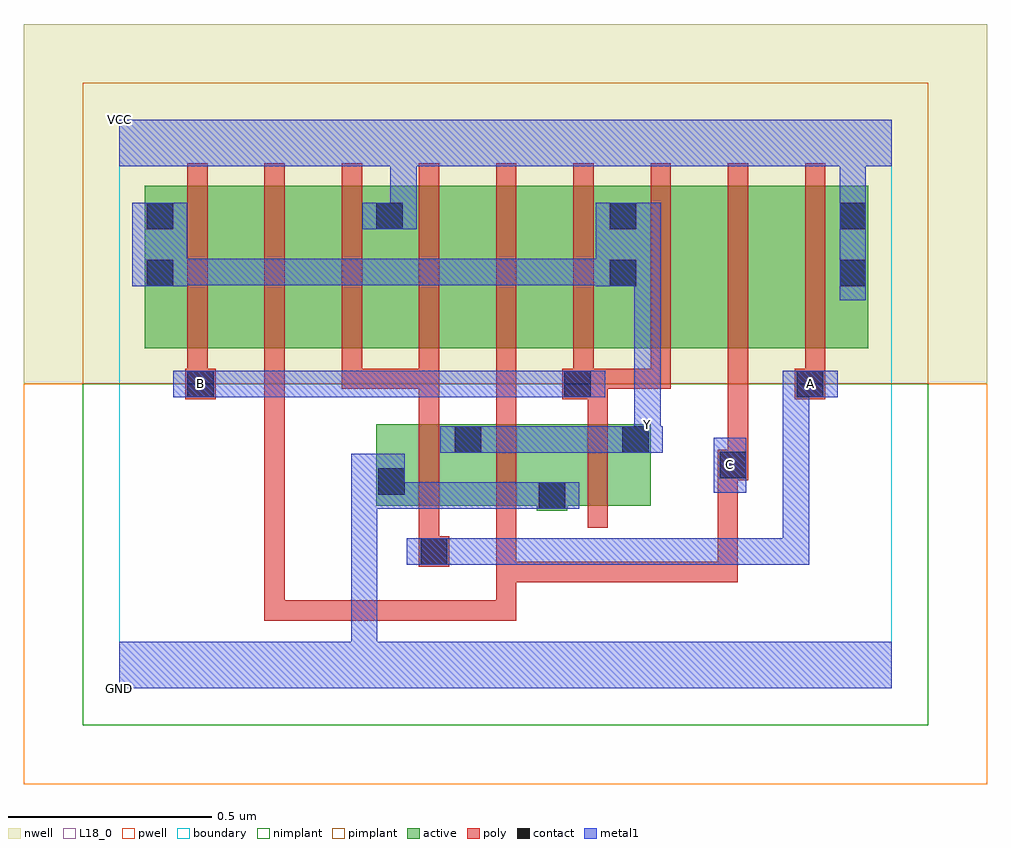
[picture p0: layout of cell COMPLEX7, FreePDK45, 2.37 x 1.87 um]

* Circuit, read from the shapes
.subckt COMPLEX7 A B C GND VCC Y
M1 Y A GND VSUBS nfet w=0.2u l=0.05u
M2 GND C Y VSUBS nfet w=0.2u l=0.05u
M3 Y B GND VSUBS nfet w=0.2u l=0.05u
M4 n1 B Y n2 pfet w=0.4u l=0.05u
M5 n3 C n1 n2 pfet w=0.4u l=0.05u
M6 VCC A n3 n2 pfet w=0.4u l=0.05u
M7 n4 A VCC n2 pfet w=0.4u l=0.05u
M8 n5 C n4 n2 pfet w=0.4u l=0.05u
M9 Y B n5 n2 pfet w=0.4u l=0.05u
M10 n6 B Y n2 pfet w=0.4u l=0.05u
M11 n7 C n6 n2 pfet w=0.4u l=0.05u
M12 VCC A n7 n2 pfet w=0.4u l=0.05u
.ends

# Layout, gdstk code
import gdstk
lib = gdstk.Library(unit=1e-6, precision=1e-09)
def R(c, l, rs):  # rectangles x0, y0, x1, y1
    for r in rs: c.add(gdstk.rectangle(r[:2], r[2:], *l))
def A(c, l, x, y, w, h, nx, ny, dx, dy):  # array of equal rectangles
    R(c, l, [(x+i*dx, y+j*dy, x+i*dx+w, y+j*dy+h) for i in range(nx) for j in range(ny)])
active = (1, 0)
pwell = (2, 0)
nwell = (3, 0)
nimplant = (4, 0)
pimplant = (5, 0)
poly = (9, 0)
contact = (10, 0)
metal1 = (11, 0)
L18_0 = (18, 0)
boundary = (235, 0)

complex7 = lib.new_cell('COMPLEX7')
A(complex7, active, 0.287, 0.837, 0.19, 0.4, 3, 1, 0.57, 0)
R(complex7, active, [(1.027,0.437,1.102,0.597), (0.632,0.45,0.895,0.65), (0.632,0.45,0.707,0.65), (0.82,0.45,1.102,0.65), (1.027,0.45,1.307,0.65), (0.82,0.495,0.895,0.65), (1.232,0.495,1.307,0.65), (0.062,0.837,0.287,1.237), (0.062,0.837,0.167,1.2), (0.477,0.837,0.702,1.237), (0.627,0.837,0.857,1.237), (1.047,0.837,1.277,1.237), (1.202,0.837,1.427,1.237), (1.617,0.837,1.842,1.237), (1.767,0.837,1.842,1.205), (0.627,0.907,0.702,1.205), (1.202,0.907,1.277,1.2)])
R(complex7, pwell, [(-0.235,-0.235,2.135,0.75)])
R(complex7, nwell, [(-0.235,0.75,2.135,1.635)])
R(complex7, nimplant, [(-0.09,-0.09,1.99,0.75)])
R(complex7, pimplant, [(-0.09,0.75,1.99,1.49)])
A(complex7, poly, 0.547, 0.737, 0.05, 0.095, 5, 1, 0.19, 0)
A(complex7, poly, 0.167, 0.782, 0.05, 0.51, 9, 1, 0.19, 0)
R(complex7, poly, [(0.357,0.167,0.407,0.217), (0.357,0.167,0.407,0.217), (0.357,0.167,0.407,0.217), (0.357,0.167,0.407,0.217), (0.357,0.167,0.407,0.217), (0.357,0.167,0.407,0.217), (0.357,0.167,0.407,0.217), (0.357,0.167,0.582,0.217), (0.357,0.167,0.407,0.832), (0.532,0.167,0.582,0.217), (0.532,0.167,0.582,0.217), (0.532,0.167,0.582,0.217), (0.532,0.167,0.582,0.217), (0.532,0.167,0.582,0.217), (0.532,0.167,0.582,0.217), (0.532,0.167,0.582,0.217), (0.532,0.167,0.845,0.217), (0.795,0.167,0.845,0.217), (0.795,0.167,0.977,0.217), (0.927,0.167,0.977,0.217), (0.927,0.167,0.977,0.312), (0.927,0.262,0.977,0.312), (0.927,0.262,0.977,0.312), (0.927,0.262,0.977,0.312), (0.927,0.262,1.11,0.312), (0.927,0.262,0.977,0.445), (1.06,0.262,1.11,0.312), (1.06,0.262,1.11,0.312), (1.06,0.262,1.11,0.312), (1.06,0.262,1.39,0.312), (1.34,0.262,1.39,0.312), (1.34,0.262,1.39,0.312), (1.34,0.262,1.39,0.312), (1.34,0.262,1.522,0.312), (1.472,0.262,1.522,0.562), (1.472,0.262,1.522,0.312), (1.472,0.262,1.522,0.312), (1.472,0.262,1.522,0.312), (1.472,0.262,1.522,0.312), (1.472,0.262,1.522,0.312), (1.472,0.262,1.522,0.312), (1.472,0.262,1.522,0.312), (0.737,0.3,0.812,0.375), (0.737,0.325,0.787,0.445), (0.737,0.395,0.787,0.705), (0.927,0.395,0.977,0.705), (1.152,0.395,1.202,0.705), (1.472,0.512,1.547,0.587), (1.497,0.537,1.547,0.832), (0.737,0.655,0.787,0.787), (0.927,0.655,0.977,0.787), (1.152,0.655,1.202,0.762), (0.162,0.712,0.237,0.787), (1.09,0.712,1.202,0.787), (1.662,0.712,1.737,0.787), (0.167,0.737,0.217,0.832), (0.547,0.737,0.597,0.787), (0.547,0.737,0.787,0.787), (0.737,0.737,0.787,0.787), (0.737,0.737,0.787,0.787), (0.737,0.737,0.787,0.787), (0.927,0.737,0.977,0.787), (1.152,0.737,1.357,0.787), (1.307,0.737,1.357,0.787), (1.307,0.737,1.357,0.787), (1.307,0.737,1.357,0.787), (1.687,0.737,1.737,0.832)])
R(complex7, contact, [(0.742,0.305,0.807,0.37), (1.032,0.442,1.097,0.507), (0.637,0.477,0.702,0.542), (1.477,0.517,1.542,0.582), (0.825,0.58,0.89,0.645), (1.237,0.58,1.302,0.645), (0.167,0.717,0.232,0.782), (1.095,0.717,1.16,0.782), (1.667,0.717,1.732,0.782), (0.067,0.99,0.132,1.055), (1.207,0.99,1.272,1.055), (1.772,0.99,1.837,1.055), (0.067,1.13,0.132,1.195), (0.632,1.13,0.697,1.195), (1.207,1.13,1.272,1.195), (1.772,1.13,1.837,1.195)])
A(complex7, metal1, 0.922, 0.442, 0.14, 0.065, 1, 3, 0, 0.275)
R(complex7, metal1, [(0,0,1.9,0.115), (0.57,0.05,0.635,0.507), (0.707,0.305,0.842,0.37), (0.777,0.305,0.842,0.37), (0.777,0.305,0.842,0.37), (0.777,0.305,0.987,0.37), (0.922,0.305,0.987,0.37), (0.922,0.305,1.062,0.37), (0.997,0.305,1.062,0.37), (0.997,0.305,1.252,0.37), (1.187,0.305,1.252,0.37), (1.187,0.305,1.39,0.37), (1.325,0.305,1.39,0.37), (1.325,0.305,1.39,0.37), (1.325,0.305,1.39,0.37), (1.325,0.305,1.39,0.37), (1.325,0.305,1.39,0.37), (1.325,0.305,1.56,0.37), (1.495,0.305,1.56,0.37), (1.495,0.305,1.56,0.37), (1.495,0.305,1.56,0.37), (1.495,0.305,1.56,0.37), (1.495,0.305,1.56,0.37), (1.495,0.305,1.697,0.37), (1.632,0.305,1.697,0.37), (1.632,0.305,1.697,0.782), (0.57,0.442,0.635,0.507), (0.57,0.442,0.635,0.507), (0.57,0.442,0.635,0.507), (0.57,0.442,0.635,0.507), (0.57,0.442,0.635,0.507), (0.57,0.442,0.635,0.507), (0.57,0.442,0.702,0.577), (0.637,0.442,0.85,0.507), (0.785,0.442,0.85,0.507), (0.785,0.442,0.85,0.507), (0.785,0.442,0.85,0.507), (0.785,0.442,0.987,0.507), (0.922,0.442,0.987,0.507), (0.997,0.442,1.132,0.507), (1.462,0.482,1.542,0.617), (0.79,0.58,0.925,0.645), (0.86,0.58,0.987,0.645), (0.922,0.58,0.987,0.645), (0.922,0.58,1.1,0.645), (1.035,0.58,1.1,0.645), (1.035,0.58,1.125,0.645), (1.06,0.58,1.125,0.645), (1.06,0.58,1.267,0.645), (1.202,0.58,1.337,0.645), (1.267,0.58,1.332,0.647), (1.267,0.582,1.332,0.717), (1.267,0.652,1.332,1.055), (0.132,0.717,0.267,0.782), (0.202,0.717,0.305,0.782), (0.24,0.717,0.305,0.782), (0.24,0.717,0.497,0.782), (0.432,0.717,0.497,0.782), (0.432,0.717,0.497,0.782), (0.432,0.717,0.497,0.782), (0.432,0.717,0.635,0.782), (0.57,0.717,0.635,0.782), (0.57,0.717,0.635,0.782), (0.57,0.717,0.635,0.782), (0.57,0.717,0.85,0.782), (0.785,0.717,0.85,0.782), (0.785,0.717,0.85,0.782), (0.785,0.717,0.85,0.782), (0.785,0.717,0.987,0.782), (0.922,0.717,0.987,0.782), (0.997,0.717,1.062,0.782), (0.997,0.717,1.125,0.782), (1.06,0.717,1.195,0.782), (1.632,0.717,1.697,0.782), (1.632,0.717,1.697,0.782), (1.632,0.717,1.767,0.782), (1.772,0.955,1.837,1.23), (0.032,0.99,0.167,1.195), (1.172,0.99,1.332,1.195), (0.102,0.992,0.167,1.057), (0.102,0.992,0.167,1.057), (0.102,0.992,0.305,1.057), (0.24,0.992,0.305,1.057), (0.24,0.992,0.442,1.057), (0.377,0.992,0.442,1.057), (0.377,0.992,0.442,1.057), (0.377,0.992,0.442,1.057), (0.377,0.992,0.635,1.057), (0.57,0.992,0.635,1.057), (0.57,0.992,0.635,1.057), (0.57,0.992,0.635,1.057), (0.57,0.992,0.772,1.057), (0.707,0.992,0.772,1.057), (0.707,0.992,0.84,1.057), (0.775,0.992,0.84,1.057), (0.775,0.992,0.987,1.057), (0.922,0.992,0.987,1.057), (0.997,0.992,1.062,1.057), (0.997,0.992,1.237,1.057), (1.172,0.992,1.237,1.057), (1.172,0.992,1.237,1.057), (0.597,1.13,0.732,1.195), (0.667,1.13,0.732,1.35), (1.772,1.165,1.837,1.35), (0,1.285,1.9,1.4)])
A(complex7, L18_0, 0.922, 0.442, 0.14, 0.065, 1, 3, 0, 0.275)
R(complex7, L18_0, [(0,0,1.9,0.115), (0.57,0.05,0.635,0.507), (0.707,0.305,0.842,0.37), (0.777,0.305,0.842,0.37), (0.777,0.305,0.842,0.37), (0.777,0.305,0.987,0.37), (0.922,0.305,0.987,0.37), (0.922,0.305,1.062,0.37), (0.997,0.305,1.062,0.37), (0.997,0.305,1.252,0.37), (1.187,0.305,1.252,0.37), (1.187,0.305,1.39,0.37), (1.325,0.305,1.39,0.37), (1.325,0.305,1.39,0.37), (1.325,0.305,1.39,0.37), (1.325,0.305,1.39,0.37), (1.325,0.305,1.39,0.37), (1.325,0.305,1.56,0.37), (1.495,0.305,1.56,0.37), (1.495,0.305,1.56,0.37), (1.495,0.305,1.56,0.37), (1.495,0.305,1.56,0.37), (1.495,0.305,1.56,0.37), (1.495,0.305,1.697,0.37), (1.632,0.305,1.697,0.37), (1.632,0.305,1.697,0.782), (0.57,0.442,0.635,0.507), (0.57,0.442,0.635,0.507), (0.57,0.442,0.635,0.507), (0.57,0.442,0.635,0.507), (0.57,0.442,0.635,0.507), (0.57,0.442,0.635,0.507), (0.57,0.442,0.702,0.577), (0.637,0.442,0.85,0.507), (0.785,0.442,0.85,0.507), (0.785,0.442,0.85,0.507), (0.785,0.442,0.85,0.507), (0.785,0.442,0.987,0.507), (0.922,0.442,0.987,0.507), (0.997,0.442,1.132,0.507), (1.462,0.482,1.542,0.617), (1.467,0.517,1.532,0.582), (0.79,0.58,0.925,0.645), (0.86,0.58,0.987,0.645), (0.922,0.58,0.987,0.645), (0.922,0.58,1.1,0.645), (1.035,0.58,1.1,0.645), (1.035,0.58,1.125,0.645), (1.06,0.58,1.125,0.645), (1.06,0.58,1.267,0.645), (1.202,0.58,1.337,0.645), (1.267,0.58,1.332,0.647), (1.267,0.582,1.332,0.717), (1.267,0.617,1.332,0.682), (1.267,0.652,1.332,1.055), (0.132,0.717,0.267,0.782), (0.167,0.717,0.232,0.782), (0.202,0.717,0.305,0.782), (0.24,0.717,0.305,0.782), (0.24,0.717,0.497,0.782), (0.432,0.717,0.497,0.782), (0.432,0.717,0.497,0.782), (0.432,0.717,0.497,0.782), (0.432,0.717,0.635,0.782), (0.57,0.717,0.635,0.782), (0.57,0.717,0.635,0.782), (0.57,0.717,0.635,0.782), (0.57,0.717,0.85,0.782), (0.785,0.717,0.85,0.782), (0.785,0.717,0.85,0.782), (0.785,0.717,0.85,0.782), (0.785,0.717,0.987,0.782), (0.922,0.717,0.987,0.782), (0.997,0.717,1.062,0.782), (0.997,0.717,1.125,0.782), (1.06,0.717,1.195,0.782), (1.632,0.717,1.767,0.782), (1.632,0.717,1.697,0.782), (1.632,0.717,1.697,0.782), (1.667,0.717,1.732,0.782), (1.772,0.955,1.837,1.23), (0.032,0.99,0.167,1.195), (1.172,0.99,1.332,1.195), (0.102,0.992,0.167,1.057), (0.102,0.992,0.167,1.057), (0.102,0.992,0.305,1.057), (0.24,0.992,0.305,1.057), (0.24,0.992,0.442,1.057), (0.377,0.992,0.442,1.057), (0.377,0.992,0.442,1.057), (0.377,0.992,0.442,1.057), (0.377,0.992,0.635,1.057), (0.57,0.992,0.635,1.057), (0.57,0.992,0.635,1.057), (0.57,0.992,0.635,1.057), (0.57,0.992,0.772,1.057), (0.707,0.992,0.772,1.057), (0.707,0.992,0.84,1.057), (0.775,0.992,0.84,1.057), (0.775,0.992,0.987,1.057), (0.922,0.992,0.987,1.057), (0.997,0.992,1.062,1.057), (0.997,0.992,1.237,1.057), (1.172,0.992,1.237,1.057), (1.172,0.992,1.237,1.057), (0.597,1.13,0.732,1.195), (0.667,1.13,0.732,1.35), (1.772,1.165,1.837,1.35), (0,1.285,1.9,1.4)])
R(complex7, boundary, [(0,0,1.9,1.4)])
complex7.add(gdstk.Label('A', (1.7,0.75), layer=11, texttype=0))
complex7.add(gdstk.Label('B', (0.2,0.75), layer=11, texttype=0))
complex7.add(gdstk.Label('C', (1.5,0.55), layer=11, texttype=0))
complex7.add(gdstk.Label('Y', (1.3,0.65), layer=11, texttype=0))
complex7.add(gdstk.Label('VCC', (0,1.4), layer=11, texttype=0))
complex7.add(gdstk.Label('GND', (0,0), layer=11, texttype=0))

lib.write_gds('COMPLEX7.gds')
